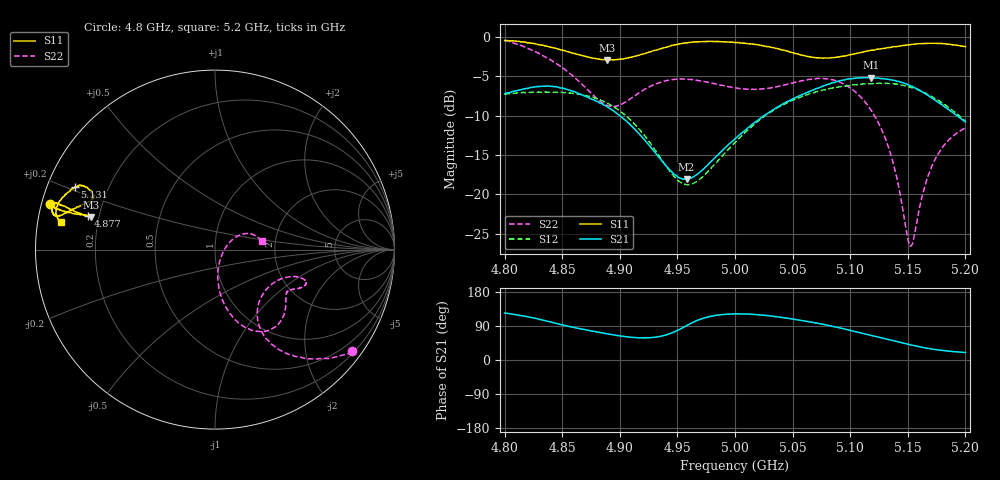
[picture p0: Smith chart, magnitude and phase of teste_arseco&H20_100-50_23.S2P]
! Network Analyzer HP8722D
! Hewlett-Packard
! Data name: Linha & Wilkinson
! Saver's name: Rodrigo Anjos
! Comments: Teste da utilização de aquisição
! continua pelo VNA HP8722D
! Time and date: 6/5/2025 12:45
!  Frequency  S11  S21  S12  S22
# HZ  S  MA R 50
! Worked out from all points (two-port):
!   401 points, 4.8 GHz to 5.2 GHz, reference 50 ohm
!   highest |S21| = -5.14 dB at 5.118 GHz (marker M1); lowest = -18.1 dB at 4.958 GHz (marker M2)
!   |S21| within 3 dB of the highest: start of sweep to 4.879 GHz; 5.046 GHz to 5.175 GHz (128.6 MHz wide, 2.52 % of centre)
!   lowest |S11| = -2.9 dB at 4.889 GHz (marker M3), VSWR 6.03, Z = 8.43 + j6.28 ohm
!   |S11| at or under -10 dB: nowhere
!   |S22| runs from -26.6 to -0.4 dB; largest |S21 - S12| = 0.71
!   S11 on the Smith chart (normalised r, x): 4.8 GHz: 0.03, +0.14; 4.877 GHz: 0.16, +0.13; 5.131 GHz: 0.08, +0.21; 5.2 GHz: 0.07, +0.09
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4.8e9  0.9521 164.4  0.4362 124.1  0.4344 19.1  0.951 -36.6
4.835e9  0.8795 165.7  0.4884 103.9  0.4478 8.3  0.7501 -52.7
4.867e9  0.7621 165.2  0.4302 81.4  0.4303 -5.1  0.5028 -60.1
4.877e9  0.7333 165.1  0.3997 75.9  0.4144 -10.8  0.4265 -56.6
4.889e9  0.7154 165.3  0.3602 69.2  0.3803 -18.1  0.3682 -45.1
4.909e9  0.7427 165.1  0.2777 60.1  0.2987 -29.8  0.4042 -23.7
4.934e9  0.8383 164.4  0.1717 61.7  0.1769 -32.7  0.5117 -18.4
4.958e9  0.9184 163.8  0.1248 90.9  0.1154 -1.7  0.5399 -21.6
5e9  0.9265 167.4  0.2255 121.5  0.2141 40.0  0.4757 -28.0
5.034e9  0.8553 166.0  0.3485 115.0  0.3454 36.1  0.4805 -34.6
5.067e9  0.7446 158.7  0.4595 99.5  0.4419 21.7  0.5409 -47.6
5.094e9  0.7575 155.1  0.5332 82.6  0.4877 6.8  0.505 -63.8
5.118e9  0.8231 154.3  0.5533 65.0  0.5062 -7.4  0.3444 -78.2
5.131e9  0.8548 156.0  0.5418 55.7  0.5081 -15.9  0.2218 -84.2
5.134e9  0.8575 156.4  0.5368 53.4  0.5072 -18.0  0.1917 -84.4
5.141e9  0.8726 158.1  0.5234 48.4  0.5017 -22.8  0.1224 -82.1
5.15e9  0.8909 160.3  0.4982 41.4  0.4847 -29.0  0.05224 -48.7
5.153e9  0.8978 161.0  0.4877 39.3  0.4773 -30.9  0.04708 -18.6
5.164e9  0.9087 163.8  0.4423 32.6  0.4451 -37.8  0.1078 29.5
5.172e9  0.9147 165.6  0.4052 28.4  0.4135 -42.2  0.1582 30.5
5.184e9  0.9018 167.9  0.3526 24.0  0.3637 -47.5  0.2156 24.1
5.2e9  0.8691 170.0  0.2885 19.8  0.2919 -52.1  0.2643 10.2
